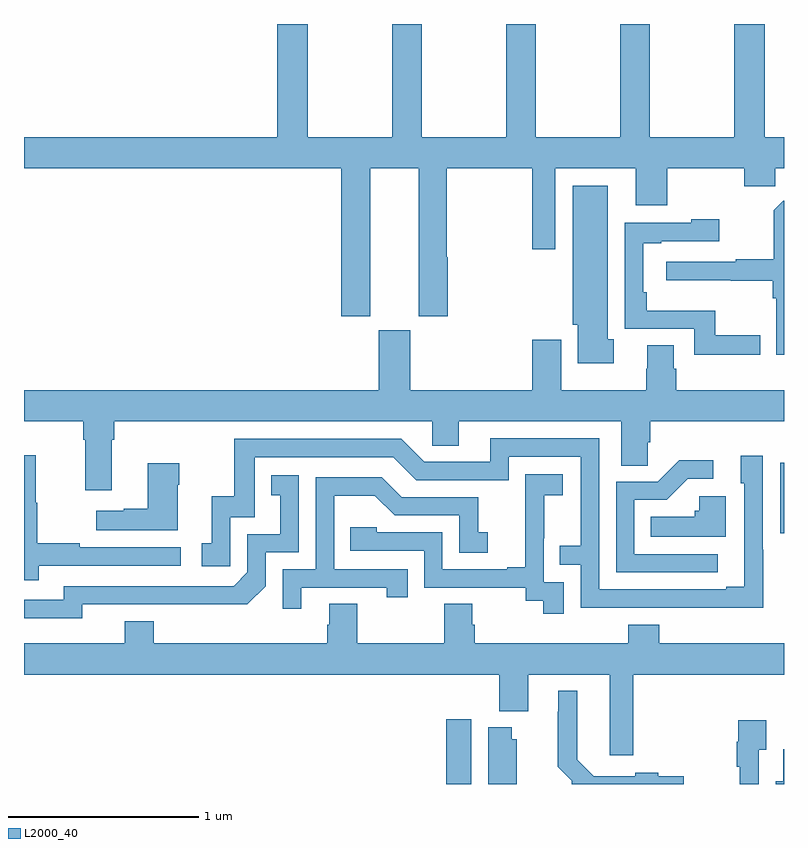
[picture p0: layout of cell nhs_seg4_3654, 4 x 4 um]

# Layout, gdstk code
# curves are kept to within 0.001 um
import gdstk
lib = gdstk.Library(unit=1e-6, precision=1e-09)
def R(c, l, rs):  # rectangles x0, y0, x1, y1
    for r in rs: c.add(gdstk.rectangle(r[:2], r[2:], *l))
def P(c, l, *ps):  # polygons
    for p in ps: c.add(gdstk.Polygon(p, *l))
L2000_40 = (2000, 40)

nhs_seg4_3654 = lib.new_cell('nhs_seg4_3654')
R(nhs_seg4_3654, L2000_40, [(305.222,806.9,305.353,807.241), (306.981,808.221,307,808.59)])
P(nhs_seg4_3654, L2000_40, [(306.791,810.047),(306.955,810.047),(306.955,810.14),(307,810.14),(307,810.304),(306.899,810.304),(306.899,810.9),(306.739,810.9),(306.739,810.304),(306.294,810.304),(306.294,810.9),(306.139,810.9),(306.139,810.304),(305.694,810.304),(305.694,810.9),(305.539,810.9),(305.539,810.304),(305.094,810.304),(305.094,810.9),(304.939,810.9),(304.939,810.304),(304.494,810.304),(304.494,810.9),(304.334,810.9),(304.334,810.304),(303,810.304),(303,810.14),(304.67,810.14),(304.67,809.361),(304.822,809.361),(304.822,810.14),(305.078,810.14),(305.078,809.361),(305.231,809.361),(305.231,809.673),(305.226,809.673),(305.226,810.14),(305.674,810.14),(305.674,809.715),(305.797,809.715),(305.797,810.14),(306.221,810.14),(306.221,809.946),(306.385,809.946),(306.385,810.14),(306.791,810.14)],
  [(306.103,809.24),(306.073,809.24),(306.073,810.049),(305.888,810.049),(305.888,809.316),(305.915,809.316),(305.915,809.114),(306.103,809.114)],
  [(307,809.971),(306.997,809.971),(306.945,809.919),(306.945,809.662),(306.745,809.662),(306.745,809.649),(306.381,809.649),(306.381,809.552),(306.721,809.552),(306.721,809.548),(306.94,809.548),(306.94,809.456),(306.96,809.456),(306.96,809.16),(307,809.16)],
  [(306.874,809.261),(306.637,809.261),(306.637,809.392),(306.278,809.392),(306.278,809.488),(306.258,809.488),(306.258,809.745),(306.355,809.745),(306.355,809.757),(306.658,809.757),(306.658,809.872),(306.513,809.872),(306.513,809.853),(306.162,809.853),(306.162,809.295),(306.528,809.295),(306.528,809.159),(306.874,809.159)],
  [(303.463,808.712),(303.476,808.712),(303.476,808.808),(305.148,808.808),(305.148,808.681),(305.287,808.681),(305.287,808.808),(306.143,808.808),(306.143,808.576),(306.282,808.576),(306.282,808.699),(306.296,808.699),(306.296,808.808),(307,808.808),(307,808.972),(306.434,808.972),(306.434,809.085),(306.421,809.085),(306.421,809.21),(306.281,809.21),(306.281,809.085),(306.274,809.085),(306.274,808.972),(305.827,808.972),(305.827,809.239),(305.675,809.239),(305.675,808.972),(305.032,808.972),(305.032,809.289),(304.868,809.289),(304.868,808.972),(303,808.972),(303,808.808),(303.311,808.808),(303.311,808.712),(303.323,808.712),(303.323,808.446),(303.463,808.446)],
  [(306.891,808.133),(306.888,808.133),(306.888,808.627),(306.773,808.627),(306.773,808.482),(306.792,808.482),(306.792,807.937),(306.695,807.937),(306.695,807.924),(306.027,807.924),(306.027,808.719),(305.453,808.719),(305.453,808.596),(305.106,808.596),(304.986,808.716),(304.107,808.716),(304.107,808.414),(303.989,808.414),(303.989,808.167),(303.936,808.167),(303.936,808.047),(304.086,808.047),(304.086,808.305),(304.215,808.305),(304.215,808.62),(304.944,808.62),(305.064,808.5),(305.55,808.5),(305.55,808.623),(305.931,808.623),(305.931,808.154),(305.821,808.154),(305.821,808.053),(305.931,808.053),(305.931,807.828),(306.891,807.827)],
  [(303.077,808.05),(303.826,808.05),(303.826,808.146),(303.293,808.146),(303.293,808.166),(303.07,808.166),(303.07,808.38),(303.062,808.38),(303.062,808.63),(303,808.63),(303,807.972),(303.077,807.972)],
  [(306.652,808.11),(306.213,808.11),(306.213,808.395),(306.382,808.395),(306.493,808.506),(306.628,808.506),(306.628,808.604),(306.449,808.604),(306.336,808.491),(306.117,808.491),(306.117,808.014),(306.652,808.014)],
  [(303.808,808.475),(303.816,808.475),(303.816,808.588),(303.65,808.588),(303.65,808.349),(303.524,808.349),(303.524,808.339),(303.381,808.339),(303.381,808.235),(303.808,808.235)],
  [(305.841,807.963),(305.736,807.963),(305.736,808.193),(305.738,808.193),(305.738,808.421),(305.836,808.421),(305.836,808.531),(305.638,808.531),(305.638,808.325),(305.639,808.325),(305.639,808.042),(305.543,808.042),(305.543,808.029),(305.202,808.029),(305.202,808.224),(304.857,808.224),(304.857,808.251),(304.717,808.251),(304.717,808.128),(305.106,808.128),(305.106,807.933),(305.64,807.933),(305.64,807.865),(305.733,807.865),(305.733,807.795),(305.841,807.795)],
  [(303.306,807.846),(304.174,807.845),(304.272,807.942),(304.272,808.119),(304.446,808.119),(304.446,808.525),(304.3,808.525),(304.3,808.419),(304.349,808.419),(304.349,808.215),(304.176,808.215),(304.176,808.014),(304.104,807.942),(303.21,807.942),(303.21,807.87),(303,807.87),(303,807.773),(303.306,807.773)],
  [(304.459,807.933),(304.91,807.933),(304.91,807.882),(305.021,807.882),(305.021,808.029),(304.632,808.029),(304.632,808.418),(304.846,808.418),(304.95,808.314),(305.292,808.314),(305.292,808.116),(305.44,808.116),(305.44,808.225),(305.391,808.225),(305.391,808.41),(304.987,808.41),(304.882,808.515),(304.536,808.515),(304.536,808.029),(304.362,808.029),(304.362,807.822),(304.459,807.822)],
  [(306.694,808.414),(306.555,808.414),(306.555,808.338),(306.529,808.338),(306.529,808.306),(306.298,808.306),(306.298,808.202),(306.694,808.202)],
  [(306.206,807.476),(307,807.476),(307,807.64),(306.344,807.64),(306.344,807.739),(306.179,807.739),(306.179,807.64),(305.372,807.64),(305.372,807.738),(305.359,807.738),(305.359,807.848),(305.212,807.848),(305.212,807.64),(304.755,807.64),(304.755,807.848),(304.607,807.848),(304.607,807.738),(304.595,807.738),(304.595,807.64),(303.683,807.64),(303.683,807.757),(303.53,807.757),(303.53,807.64),(303,807.64),(303,807.476),(305.501,807.476),(305.501,807.284),(305.653,807.284),(305.653,807.476),(306.083,807.476),(306.083,807.051),(306.206,807.051)],
  [(306.472,806.94),(306.338,806.94),(306.338,806.96),(306.218,806.96),(306.218,806.94),(305.998,806.94),(305.911,807.028),(305.911,807.391),(305.813,807.391),(305.813,807.281),(305.809,807.281),(305.809,806.99),(305.883,806.916),(305.883,806.9),(306.472,806.9)],
  [(306.867,807.079),(306.907,807.079),(306.907,807.235),(306.759,807.235),(306.759,807.122),(306.751,807.122),(306.751,806.99),(306.766,806.99),(306.766,806.9),(306.867,806.9)],
  [(305.593,807.135),(305.566,807.135),(305.566,807.199),(305.444,807.199),(305.444,806.9),(305.593,806.9)],
  [(307,807.082),(306.995,807.082),(306.995,806.914),(306.956,806.914),(306.956,806.9),(307,806.9)])

lib.write_gds('nhs_seg4_3654.gds')
